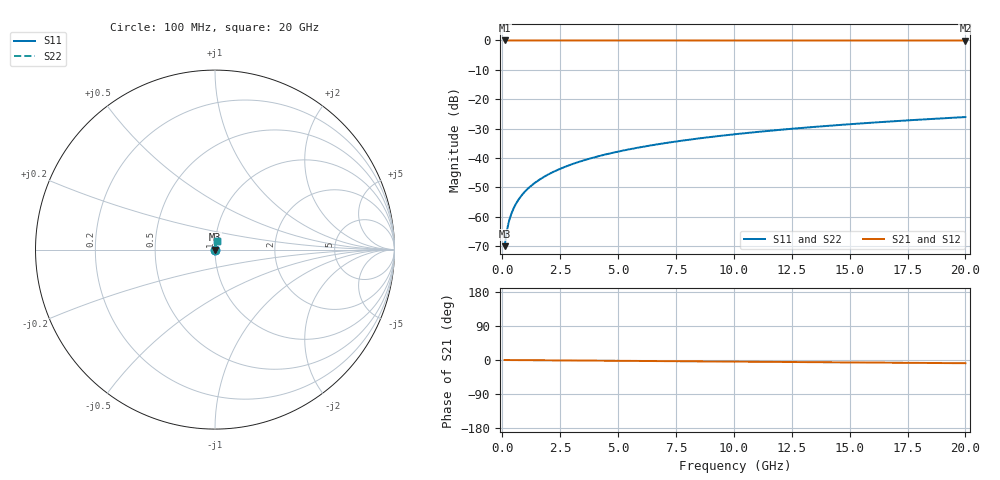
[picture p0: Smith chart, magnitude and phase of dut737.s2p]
! Touchstone file exported from HFSS 2026.1.0
!  File:  C:/ffzhzh/LocalFiles/Ansys_Project_Files/temp_train_TSV_737_1783182709_22436.aedt
!  Generated:  12:33:15 AM Jul  5, 2026
!  Design:  TSV
!  Project:  temp_train_TSV_737_1783182709_22436
! Variables:
!  h_bsmrdl = 2um
!  h_ox = 20um
!  h_rdl = 5um
!  h_sub = 74.48um
!  h_tmrdl = 5um
!  h_tsv = 74.48um
!  h_via = 3um
!  l_bsmrdl = 300um
!  l_sub = 418.92um
!  l_tmrdl = 200um
!  m_sub = 200um
!  pitch = 58.57um
!  r_tsv = 9.46um
!  s_tmrdl = 10um
!  w_bsmrdl = 18um
!  w_sub = 500um
!  w_tmrdl = 12um
!  x_tsv_center1 = 206um
!  x_tsv_center2 = 524um
!  x_tsv_center3 = 736um
!  x_tsv_center4 = 1054um
!  x_tsv_center5 = 1266um
!  x_tsv_center6 = 1584um
# GHz S MA R 50.000000
! Terminal data exported
! Port[1] = TSV1_1_T1
! Port[2] = TSV1_1_T2
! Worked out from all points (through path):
!   200 points, 100 MHz to 20 GHz, reference 50 ohm
!   highest |S21| = 0.00 dB at 100 MHz (marker M1); lowest = 0.0 dB at 20 GHz (marker M2)
!   group delay of S21, straight-line fit = 1.18 ps
!   lowest |S11| = -70.1 dB at 100 MHz (marker M3), VSWR 1.00, Z = 50 + j0.0287 ohm
!   |S11| at or under -10 dB: start of sweep to end of sweep
!   |S22| runs from -70.1 to -26.1 dB; largest |S21 - S12| = 2.2e-15
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0.1  0.0003144 66.0  0.9999 -0.0  0.9999 -0.0  0.0003144 66.0
! Gamma 0 0 0 0
! Port Impedance 50 0 50 0
0.2  0.0005887 76.4  0.9999 -0.1  0.9999 -0.1  0.0005887 76.4
0.3  0.0008674 79.8  0.9998 -0.1  0.9998 -0.1  0.0008674 79.8
0.4  0.001144 81.3  0.9998 -0.2  0.9998 -0.2  0.001144 81.3
0.5  0.001416 82.1  0.9998 -0.2  0.9998 -0.2  0.001416 82.1
0.6  0.001684 82.6  0.9998 -0.3  0.9998 -0.3  0.001684 82.6
0.7  0.001949 82.9  0.9998 -0.3  0.9998 -0.3  0.001949 82.9
0.8  0.002211 83.2  0.9997 -0.4  0.9997 -0.4  0.002211 83.2
1  0.002727 83.6  0.9997 -0.4  0.9997 -0.4  0.002727 83.6
1.4  0.003745 84.2  0.9997 -0.6  0.9997 -0.6  0.003745 84.2
1.7  0.004505 84.6  0.9996 -0.7  0.9996 -0.7  0.004505 84.6
2  0.005263 84.8  0.9996 -0.9  0.9996 -0.9  0.005263 84.8
2.7  0.00703 85.2  0.9995 -1.2  0.9995 -1.2  0.00703 85.2
3.5  0.009046 85.3  0.9995 -1.5  0.9995 -1.5  0.009046 85.3
4.2  0.0108 85.3  0.9994 -1.8  0.9994 -1.8  0.0108 85.3
5  0.01281 85.2  0.9993 -2.1  0.9993 -2.1  0.01281 85.2
6.8  0.01729 84.8  0.9991 -2.9  0.9991 -2.9  0.01729 84.7
8.3  0.02101 84.3  0.999 -3.5  0.999 -3.5  0.02101 84.3
10.1  0.02545 83.8  0.9988 -4.3  0.9988 -4.3  0.02545 83.8
13.4  0.03356 82.6  0.9985 -5.7  0.9985 -5.7  0.03356 82.6
16.7  0.04162 81.4  0.998 -7.1  0.998 -7.1  0.04162 81.4
20  0.04962 80.1  0.9976 -8.5  0.9976 -8.5  0.04962 80.1
